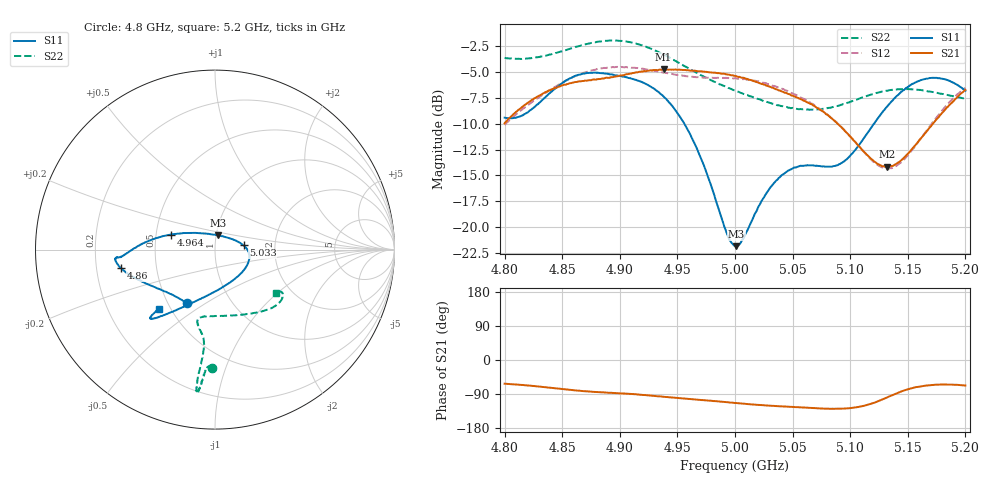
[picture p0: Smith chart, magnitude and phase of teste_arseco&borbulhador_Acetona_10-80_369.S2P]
! Network Analyzer HP8722D
! Hewlett-Packard
! Data name: Linha & Wilkinson
! Saver's name: Rodrigo Anjos
! Comments: Teste da utilização de aquisição
! continua pelo VNA HP8722D
! Time and date: 17/4/2025 17:26
!  Frequency  S11  S21  S12  S22
# HZ  S  MA R 50
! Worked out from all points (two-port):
!   401 points, 4.8 GHz to 5.2 GHz, reference 50 ohm
!   highest |S21| = -4.75 dB at 4.938 GHz (marker M1); lowest = -14.2 dB at 5.132 GHz (marker M2)
!   |S21| within 3 dB of the highest: 4.823 GHz to 5.059 GHz (236.2 MHz wide, 4.78 % of centre); 5.190196 GHz to end of sweep
!   lowest |S11| = -21.8 dB at 5.001 GHz (marker M3), VSWR 1.18, Z = 51 + j8.13 ohm
!   |S11| at or under -10 dB: 4.956 GHz to 5.121 GHz (164.7 MHz wide, 3.27 % of centre)
!   |S22| runs from -8.6 to -1.9 dB; largest |S21 - S12| = 0.87
!   S11 on the Smith chart (normalised r, x): 4.8 GHz: 0.62, -0.42; 4.86 GHz: 0.31, -0.09; 4.964 GHz: 0.60, +0.11; 5.033 GHz: 1.38, +0.07; 5.2 GHz: 0.43, -0.36
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4.8e9  0.3382 -117.5  0.3176 -62.6  0.3124 -176.8  0.6582 -91.6
4.818e9  0.3535 -136.6  0.3913 -66.6  0.3813 -176.4  0.6522 -93.2
4.86e9  0.5346 -169.0  0.5006 -79.6  0.5322 -179.8  0.7365 -95.6
4.867e9  0.5501 -171.6  0.5082 -81.7  0.5526 178.8  0.7579 -95.9
4.9e9  0.538 -175.5  0.5395 -87.8  0.5927 172.9  0.7953 -97.3
4.934e9  0.4485 178.9  0.5767 -95.9  0.5664 169.6  0.7007 -97.5
4.938e9  0.4278 177.2  0.5786 -97.1  0.558 169.7  0.6839 -97.4
4.964e9  0.2602 161.2  0.5697 -103.8  0.5326 171.6  0.5683 -96.4
4.975e9  0.1851 150.2  0.5637 -106.6  0.5284 172.8  0.5269 -96.6
4.993e9  0.09295 110.6  0.5474 -111.3  0.5258 174.0  0.4752 -99.0
5e9  0.0815 82.5  0.5387 -113.3  0.5253 173.9  0.4577 -100.3
5.001e9  0.08089 78.2  0.5374 -113.6  0.5247 174.2  0.4554 -100.5
5.033e9  0.1613 8.6  0.4716 -120.9  0.4817 172.7  0.3949 -103.3
5.05e9  0.1922 -7.4  0.4327 -123.9  0.443 172.1  0.3772 -98.1
5.067e9  0.1989 -26.0  0.3914 -126.8  0.3953 172.0  0.3698 -88.1
5.096e9  0.2112 -76.2  0.2894 -127.9  0.2903 174.9  0.3965 -65.7
5.119e9  0.3067 -110.6  0.2121 -114.6  0.2098 -169.8  0.4388 -50.5
5.132e9  0.3826 -120.9  0.1957 -98.8  0.1921 -152.1  0.4563 -44.2
5.134e9  0.3938 -122.1  0.1962 -96.1  0.1918 -149.2  0.4594 -43.4
5.146e9  0.4584 -127.6  0.2146 -81.2  0.2101 -131.9  0.465 -38.9
5.168e9  0.5243 -132.6  0.2982 -66.9  0.3022 -113.3  0.4524 -33.6
5.2e9  0.4559 -133.6  0.4606 -67.3  0.4722 -109.4  0.4173 -35.1
